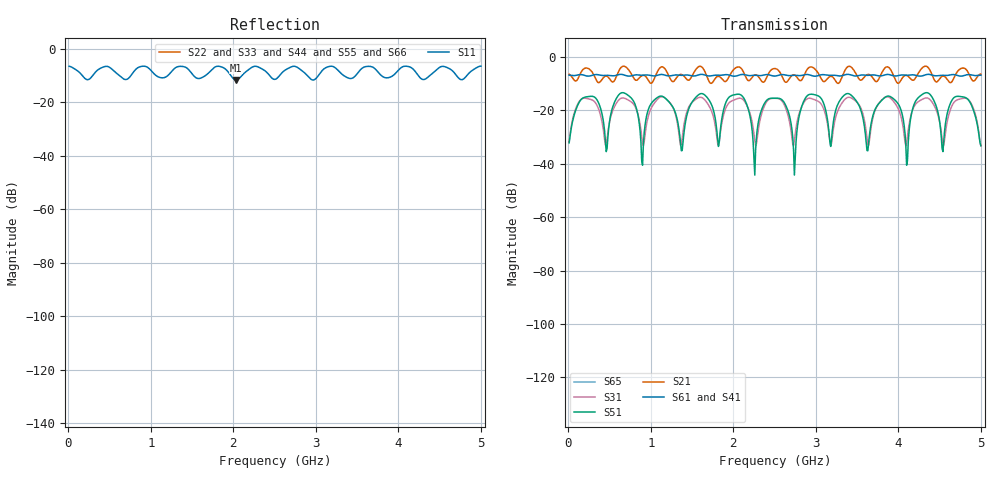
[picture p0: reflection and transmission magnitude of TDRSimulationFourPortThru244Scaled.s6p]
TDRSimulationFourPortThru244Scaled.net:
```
device T3 2 tline zc 55.0 td 4e-10
device T4 2 tline zc 35.0 td 1.1e-09
device D10 2 voltageamplifier gain 1.0 zi 100000000.0 zo 55.0
device T10 2 tline zc 50.0 td 6e-10
device D1 2 voltageamplifier gain 1.0 zi 100000000.0 zo 60.0
device T12 2 tline zc 50.0 td 9e-10
device R5 1 R 50.0
device D17 3 directionalcoupler
device D18 3 directionalcoupler
device R6 1 R 50.0
device R9 1 R 50.0
device D22 3 directionalcoupler
device D23 3 directionalcoupler
device R10 1 R 50.0
voltagesource VG4 1
device T5 2 tline zc 50.0 td 1e-10
device G1 1 ground
connect D18 1 T3 1
connect T3 2 T5 1
output D17 1
connect D17 1 T4 2
connect T4 1 D10 2
connect D10 1 G1 1
connect D22 1 T10 1
connect T5 2 T10 2
output D23 1
connect D23 1 T12 2
connect D1 1 VG4 1
connect D1 2 T12 1
output D17 3
connect D17 3 R5 1
connect D17 2 D18 2
output R6 1
connect R6 1 D18 3
output R9 1
connect R9 1 D22 3
connect D23 2 D22 2
output R10 1
connect R10 1 D23 3
```
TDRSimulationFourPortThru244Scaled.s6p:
# MHz MA S R 50.0
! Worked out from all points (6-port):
!   500 points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, 10 MHz to 5 GHz, reference 50 ohm
!   strongest paths, dB at 10 MHz, 1.26 GHz, 2.51 GHz, 3.76 GHz, 5 GHz:
!     S61: -6.8, -6.9, -7.1, -7.1, -6.8
!     S41: -6.8, -6.9, -7.1, -7.0, -6.8
!     S21: -6.5, -9.2, -4.4, -8.4, -6.4
!     S51: -32.2, -18.4, -15.5, -17.5, -33.3
!     S31: -31.9, -18.5, -15.5, -17.5, -33.3
!     S65: -, -, -, -, -
!   lowest |S11| = -11.6 dB at 2.03 GHz (marker M1), VSWR 1.72, Z = 79.3 - j18 ohm
!   |S11| at or under -10 dB: 1.068 GHz to 1.203 GHz (135.4 MHz wide, 11.9 % of centre); 1.52 GHz to 1.658 GHz (138.3 MHz wide, 8.71 % of centre); 3.342 GHz to 3.48 GHz (138.3 MHz wide, 4.06 % of centre)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
